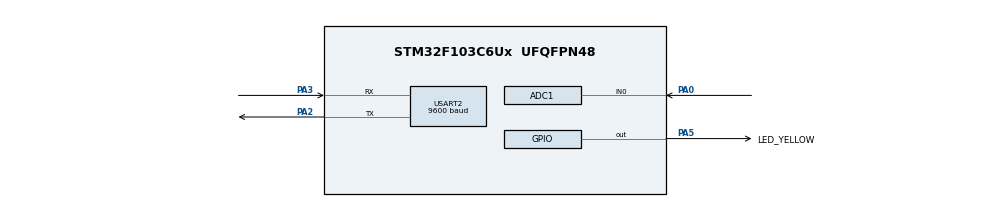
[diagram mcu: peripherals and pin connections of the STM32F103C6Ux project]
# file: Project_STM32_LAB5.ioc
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ADC1.Channel-0\#ChannelRegularConversion=ADC_CHANNEL_0
ADC1.ContinuousConvMode=ENABLE
ADC1.NbrOfConversionFlag=1
ADC1.Rank-0\#ChannelRegularConversion=1
ADC1.SamplingTime-0\#ChannelRegularConversion=ADC_SAMPLETIME_1CYCLE_5
ADC1.master=1
Mcu.Family=STM32F1
Mcu.Name=STM32F103C6Ux
Mcu.Package=UFQFPN48
NVIC.PriorityGroup=NVIC_PRIORITYGROUP_4
NVIC.TIM2_IRQn=true\:0\:0\:false\:false\:true\:true\:true
NVIC.USART2_IRQn=true\:0\:0\:false\:false\:true\:true\:true
PA0-WKUP.Signal=ADCx_IN0
PA2.Mode=Asynchronous
PA2.Signal=USART2_TX
PA3.Mode=Asynchronous
PA3.Signal=USART2_RX
PA5.GPIO_Label=LED_YELLOW
PA5.Signal=GPIO_Output
ProjectManager.HeapSize=0x200
ProjectManager.StackSize=0x400
ProjectManager.TargetToolchain=STM32CubeIDE
RCC.APB1Freq_Value=8000000
RCC.APB2Freq_Value=8000000
SH.ADCx_IN0.0=ADC1_IN0,IN0
TIM2.Period=9
TIM2.Prescaler=7999
USART2.BaudRate=9600
USART2.VirtualMode=VM_ASYNC
VP_SYS_VS_ND.Mode=No_Debug
VP_TIM2_VS_ClockSourceINT.Mode=Internal
board=custom

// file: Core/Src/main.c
/* USER CODE BEGIN Header */
/**
  ******************************************************************************
  * @file           : main.c
  * @brief          : Main program body
  ******************************************************************************
  * @attention
  *
  * <h2><center>&copy; Copyright (c) 2024 STMicroelectronics.
  * All rights reserved.</center></h2>
  *
  * This software component is licensed by ST under BSD 3-Clause license,
  * the "License"; You may not use this file except in compliance with the
  * License. You may obtain a copy of the License at:
  *                        opensource.org/licenses/BSD-3-Clause
  *
  ******************************************************************************
  */
/* USER CODE END Header */
#include "main.h"

/* USER CODE BEGIN Includes */
#include "global.h"
#include "fsm_uart.h"
#include <stdio.h>
#include "software_timer.h"
/* USER CODE END Includes */

ADC_HandleTypeDef hadc1;

TIM_HandleTypeDef htim2;

UART_HandleTypeDef huart2;

/* USER CODE BEGIN PV */
enum UART_STATE 	uartState = UART_IDLE;
enum CMD_STATE		cmdState = CMD_IDLE;
enum ERROR_STATE	errState = ERROR_IDLE;
/* USER CODE END PV */

void SystemClock_Config(void);
static void MX_GPIO_Init(void);
static void MX_ADC1_Init(void);
static void MX_TIM2_Init(void);
static void MX_USART2_UART_Init(void);

/* USER CODE BEGIN 0 */
uint8_t cmdBuffer[CMD_CONTENT_MAX_LENGTH];
uint8_t buffer_flag = 0;
uint8_t cmd_content_index = 0;
uint8_t tempValue = 0;
void HAL_UART_RxCpltCallback(UART_HandleTypeDef *huart) {
	if(huart->Instance == USART2){
		HAL_UART_Transmit(&huart2, &tempValue, 1, 50);
		cmdBuffer[cmd_content_index++] = tempValue;
		buffer_flag = 1;
		if(cmd_content_index >= CMD_CONTENT_MAX_LENGTH){
			cmd_content_index = 0 ;
		}
		HAL_UART_Receive_IT(&huart2, &tempValue, 1);
	}
}
/* USER CODE END 0 */

int main(void)
{

  /* MCU Configuration--------------------------------------------------------*/

  /* Reset of all peripherals, Initializes the Flash interface and the Systick. */
  HAL_Init();

  /* Configure the system clock */
  SystemClock_Config();

  /* Initialize all configured peripherals */
  MX_GPIO_Init();
  MX_ADC1_Init();
  MX_TIM2_Init();
  MX_USART2_UART_Init();
  /* USER CODE BEGIN 2 */
  //char response[RESPONSE_LENGTH];
  HAL_TIM_Base_Start_IT(&htim2);
  HAL_UART_Receive_IT (&huart2, &tempValue, 1);
  HAL_ADC_Start(&hadc1);

  char welcome[50];
  int length = sprintf(welcome, "STARTING STM32 UART LAB5\r\n");
  HAL_UART_Transmit(&huart2, (void *)welcome, length, 50);
  setTimers(2, 500);
  /* USER CODE END 2 */

  /* Infinite loop */
  /* USER CODE BEGIN WHILE */
  while (1)
  {
	  if(timer_flags[2] == 1){
		  setTimers(2, 500);
		  HAL_GPIO_TogglePin(LED_YELLOW_GPIO_Port, LED_YELLOW_Pin);
	  }
	  if(buffer_flag == 1){
		  command_parser_fsm();
		  buffer_flag = 0;
	  }
	  uart_communication_fsm();
    /* USER CODE END WHILE */

  }
}

void SystemClock_Config(void)
{
  RCC_OscInitTypeDef RCC_OscInitStruct = {0};
  RCC_ClkInitTypeDef RCC_ClkInitStruct = {0};
  RCC_PeriphCLKInitTypeDef PeriphClkInit = {0};

  /** Initializes the RCC Oscillators according to the specified parameters
  * in the RCC_OscInitTypeDef structure.
  */
  RCC_OscInitStruct.OscillatorType = RCC_OSCILLATORTYPE_HSI;
  RCC_OscInitStruct.HSIState = RCC_HSI_ON;
  RCC_OscInitStruct.HSICalibrationValue = RCC_HSICALIBRATION_DEFAULT;
  RCC_OscInitStruct.PLL.PLLState = RCC_PLL_NONE;
  if (HAL_RCC_OscConfig(&RCC_OscInitStruct) != HAL_OK)
  {
    Error_Handler();
  }
  /** Initializes the CPU, AHB and APB buses clocks
  */
  RCC_ClkInitStruct.ClockType = RCC_CLOCKTYPE_HCLK|RCC_CLOCKTYPE_SYSCLK
                              |RCC_CLOCKTYPE_PCLK1|RCC_CLOCKTYPE_PCLK2;
  RCC_ClkInitStruct.SYSCLKSource = RCC_SYSCLKSOURCE_HSI;
  RCC_ClkInitStruct.AHBCLKDivider = RCC_SYSCLK_DIV1;
  RCC_ClkInitStruct.APB1CLKDivider = RCC_HCLK_DIV1;
  RCC_ClkInitStruct.APB2CLKDivider = RCC_HCLK_DIV1;

  if (HAL_RCC_ClockConfig(&RCC_ClkInitStruct, FLASH_LATENCY_0) != HAL_OK)
  {
    Error_Handler();
  }
  PeriphClkInit.PeriphClockSelection = RCC_PERIPHCLK_ADC;
  PeriphClkInit.AdcClockSelection = RCC_ADCPCLK2_DIV2;
  if (HAL_RCCEx_PeriphCLKConfig(&PeriphClkInit) != HAL_OK)
  {
    Error_Handler();
  }
}

static void MX_ADC1_Init(void)
{

  ADC_ChannelConfTypeDef sConfig = {0};

  /** Common config
  */
  hadc1.Instance = ADC1;
  hadc1.Init.ScanConvMode = ADC_SCAN_DISABLE;
  hadc1.Init.ContinuousConvMode = ENABLE;
  hadc1.Init.DiscontinuousConvMode = DISABLE;
  hadc1.Init.ExternalTrigConv = ADC_SOFTWARE_START;
  hadc1.Init.DataAlign = ADC_DATAALIGN_RIGHT;
  hadc1.Init.NbrOfConversion = 1;
  if (HAL_ADC_Init(&hadc1) != HAL_OK)
  {
    Error_Handler();
  }
  /** Configure Regular Channel
  */
  sConfig.Channel = ADC_CHANNEL_0;
  sConfig.Rank = ADC_REGULAR_RANK_1;
  sConfig.SamplingTime = ADC_SAMPLETIME_1CYCLE_5;
  if (HAL_ADC_ConfigChannel(&hadc1, &sConfig) != HAL_OK)
  {
    Error_Handler();
  }

}

static void MX_TIM2_Init(void)
{

  TIM_ClockConfigTypeDef sClockSourceConfig = {0};
  TIM_MasterConfigTypeDef sMasterConfig = {0};

  htim2.Instance = TIM2;
  htim2.Init.Prescaler = 7999;
  htim2.Init.CounterMode = TIM_COUNTERMODE_UP;
  htim2.Init.Period = 9;
  htim2.Init.ClockDivision = TIM_CLOCKDIVISION_DIV1;
  htim2.Init.AutoReloadPreload = TIM_AUTORELOAD_PRELOAD_DISABLE;
  if (HAL_TIM_Base_Init(&htim2) != HAL_OK)
  {
    Error_Handler();
  }
  sClockSourceConfig.ClockSource = TIM_CLOCKSOURCE_INTERNAL;
  if (HAL_TIM_ConfigClockSource(&htim2, &sClockSourceConfig) != HAL_OK)
  {
    Error_Handler();
  }
  sMasterConfig.MasterOutputTrigger = TIM_TRGO_RESET;
  sMasterConfig.MasterSlaveMode = TIM_MASTERSLAVEMODE_DISABLE;
  if (HAL_TIMEx_MasterConfigSynchronization(&htim2, &sMasterConfig) != HAL_OK)
  {
    Error_Handler();
  }

}

static void MX_USART2_UART_Init(void)
{

  huart2.Instance = USART2;
  huart2.Init.BaudRate = 9600;
  huart2.Init.WordLength = UART_WORDLENGTH_8B;
  huart2.Init.StopBits = UART_STOPBITS_1;
  huart2.Init.Parity = UART_PARITY_NONE;
  huart2.Init.Mode = UART_MODE_TX_RX;
  huart2.Init.HwFlowCtl = UART_HWCONTROL_NONE;
  huart2.Init.OverSampling = UART_OVERSAMPLING_16;
  if (HAL_UART_Init(&huart2) != HAL_OK)
  {
    Error_Handler();
  }

}

static void MX_GPIO_Init(void)
{
  GPIO_InitTypeDef GPIO_InitStruct = {0};

  /* GPIO Ports Clock Enable */
  __HAL_RCC_GPIOA_CLK_ENABLE();

  /*Configure GPIO pin Output Level */
  HAL_GPIO_WritePin(LED_YELLOW_GPIO_Port, LED_YELLOW_Pin, GPIO_PIN_RESET);

  /*Configure GPIO pin : LED_YELLOW_Pin */
  GPIO_InitStruct.Pin = LED_YELLOW_Pin;
  GPIO_InitStruct.Mode = GPIO_MODE_OUTPUT_PP;
  GPIO_InitStruct.Pull = GPIO_NOPULL;
  GPIO_InitStruct.Speed = GPIO_SPEED_FREQ_LOW;
  HAL_GPIO_Init(LED_YELLOW_GPIO_Port, &GPIO_InitStruct);

}

/* USER CODE BEGIN 4 */
void HAL_TIM_PeriodElapsedCallback (TIM_HandleTypeDef * htim) {
	runTimer();
}
/* USER CODE END 4 */

void Error_Handler(void)
{
  __disable_irq();
  while (1)
  {
  }
}

/************************ (C) COPYRIGHT STMicroelectronics *****END OF FILE****/
